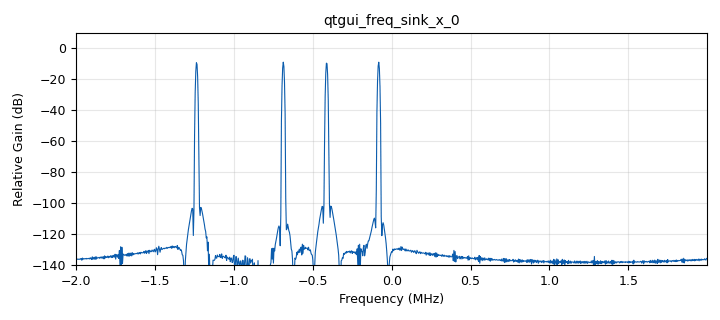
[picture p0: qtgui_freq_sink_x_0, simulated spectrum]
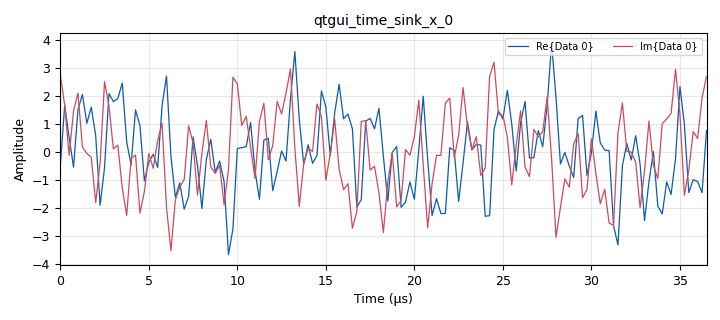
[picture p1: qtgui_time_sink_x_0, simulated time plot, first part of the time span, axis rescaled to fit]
<?xml version='1.0' encoding='utf-8'?>
<?grc format='1' created='3.7.13'?>
<flow_graph>
<block>
<key>options</key>
<param><key>id</key><value>top_block</value></param>
<param><key>generate_options</key><value>qt_gui</value></param>
</block>
<block>
<key>variable</key>
<param><key>id</key><value>samp_rate</value></param>
<param><key>value</key><value>4000000</value></param>
</block>
<block>
<key>analog_sig_source_x</key>
<param><key>id</key><value>analog_sig_source_x_0</value></param>
<param><key>amp</key><value>10</value></param>
<param><key>freq</key><value>5</value></param>
<param><key>offset</key><value>0</value></param>
<param><key>type</key><value>float</value></param>
<param><key>samp_rate</key><value>samp_rate</value></param>
<param><key>waveform</key><value>analog.GR_SAW_WAVE</value></param>
</block>
<block>
<key>blocks_add_xx</key>
<param><key>id</key><value>blocks_add_xx_0</value></param>
<param><key>type</key><value>complex</value></param>
<param><key>num_inputs</key><value>4</value></param>
</block>
<block>
<key>blocks_delay</key>
<param><key>id</key><value>blocks_delay_0</value></param>
<param><key>delay</key><value>300</value></param>
<param><key>type</key><value>complex</value></param>
</block>
<block>
<key>blocks_delay</key>
<param><key>id</key><value>blocks_delay_0_0</value></param>
<param><key>delay</key><value>2500</value></param>
<param><key>type</key><value>complex</value></param>
</block>
<block>
<key>blocks_delay</key>
<param><key>id</key><value>blocks_delay_0_1</value></param>
<param><key>delay</key><value>1500</value></param>
<param><key>type</key><value>complex</value></param>
</block>
<block>
<key>blocks_delay</key>
<param><key>id</key><value>blocks_delay_0_1_0</value></param>
<param><key>delay</key><value>4500</value></param>
<param><key>type</key><value>complex</value></param>
</block>
<block>
<key>blocks_head</key>
<param><key>id</key><value>blocks_head_0</value></param>
<param><key>num_items</key><value>1000000</value></param>
<param><key>type</key><value>complex</value></param>
</block>
<block>
<key>blocks_multiply_conjugate_cc</key>
<param><key>id</key><value>blocks_multiply_conjugate_cc_0</value></param>
</block>
<block>
<key>blocks_skiphead</key>
<param><key>id</key><value>blocks_skiphead_0</value></param>
<param><key>num_items</key><value>524</value></param>
<param><key>type</key><value>complex</value></param>
</block>
<block>
<key>blocks_vco_c</key>
<param><key>id</key><value>blocks_vco_c_0</value></param>
<param><key>amplitude</key><value>1</value></param>
<param><key>samp_rate</key><value>samp_rate</value></param>
<param><key>sensitivity</key><value>628128</value></param>
</block>
<block>
<key>qtgui_freq_sink_x</key>
<param><key>id</key><value>qtgui_freq_sink_x_0</value></param>
<param><key>bw</key><value>samp_rate</value></param>
<param><key>fc</key><value>0</value></param>
<param><key>fftsize</key><value>1024</value></param>
<param><key>showports</key><value>True</value></param>
<param><key>type</key><value>complex</value></param>
<param><key>wintype</key><value>firdes.WIN_BLACKMAN_hARRIS</value></param>
</block>
<block>
<key>qtgui_time_sink_x</key>
<param><key>id</key><value>qtgui_time_sink_x_0</value></param>
<param><key>color1</key><value>"blue"</value></param>
<param><key>label1</key><value></value></param>
<param><key>color2</key><value>"red"</value></param>
<param><key>label2</key><value></value></param>
<param><key>size</key><value>1024</value></param>
<param><key>srate</key><value>samp_rate</value></param>
<param><key>type</key><value>complex</value></param>
</block>
<block>
<key>rational_resampler_xxx</key>
<param><key>id</key><value>rational_resampler_xxx_0</value></param>
<param><key>decim</key><value>220</value></param>
<param><key>interp</key><value>1</value></param>
<param><key>taps</key><value></value></param>
<param><key>type</key><value>ccc</value></param>
</block>
<connection><source_block_id>analog_sig_source_x_0</source_block_id><sink_block_id>blocks_vco_c_0</sink_block_id><source_key>0</source_key><sink_key>0</sink_key></connection>
<connection><source_block_id>blocks_add_xx_0</source_block_id><sink_block_id>blocks_multiply_conjugate_cc_0</sink_block_id><source_key>0</source_key><sink_key>0</sink_key></connection>
<connection><source_block_id>blocks_delay_0</source_block_id><sink_block_id>blocks_add_xx_0</sink_block_id><source_key>0</source_key><sink_key>1</sink_key></connection>
<connection><source_block_id>blocks_delay_0_0</source_block_id><sink_block_id>blocks_add_xx_0</sink_block_id><source_key>0</source_key><sink_key>0</sink_key></connection>
<connection><source_block_id>blocks_delay_0_1</source_block_id><sink_block_id>blocks_add_xx_0</sink_block_id><source_key>0</source_key><sink_key>2</sink_key></connection>
<connection><source_block_id>blocks_delay_0_1_0</source_block_id><sink_block_id>blocks_add_xx_0</sink_block_id><source_key>0</source_key><sink_key>3</sink_key></connection>
<connection><source_block_id>blocks_head_0</source_block_id><sink_block_id>blocks_delay_0</sink_block_id><source_key>0</source_key><sink_key>0</sink_key></connection>
<connection><source_block_id>blocks_head_0</source_block_id><sink_block_id>blocks_delay_0_0</sink_block_id><source_key>0</source_key><sink_key>0</sink_key></connection>
<connection><source_block_id>blocks_head_0</source_block_id><sink_block_id>blocks_delay_0_1</sink_block_id><source_key>0</source_key><sink_key>0</sink_key></connection>
<connection><source_block_id>blocks_head_0</source_block_id><sink_block_id>blocks_delay_0_1_0</sink_block_id><source_key>0</source_key><sink_key>0</sink_key></connection>
<connection><source_block_id>blocks_head_0</source_block_id><sink_block_id>blocks_multiply_conjugate_cc_0</sink_block_id><source_key>0</source_key><sink_key>1</sink_key></connection>
<connection><source_block_id>blocks_multiply_conjugate_cc_0</source_block_id><sink_block_id>rational_resampler_xxx_0</sink_block_id><source_key>0</source_key><sink_key>0</sink_key></connection>
<connection><source_block_id>blocks_skiphead_0</source_block_id><sink_block_id>blocks_head_0</sink_block_id><source_key>0</source_key><sink_key>0</sink_key></connection>
<connection><source_block_id>blocks_vco_c_0</source_block_id><sink_block_id>blocks_skiphead_0</sink_block_id><source_key>0</source_key><sink_key>0</sink_key></connection>
<connection><source_block_id>rational_resampler_xxx_0</source_block_id><sink_block_id>qtgui_freq_sink_x_0</sink_block_id><source_key>0</source_key><sink_key>0</sink_key></connection>
<connection><source_block_id>rational_resampler_xxx_0</source_block_id><sink_block_id>qtgui_time_sink_x_0</sink_block_id><source_key>0</source_key><sink_key>0</sink_key></connection>
</flow_graph>
